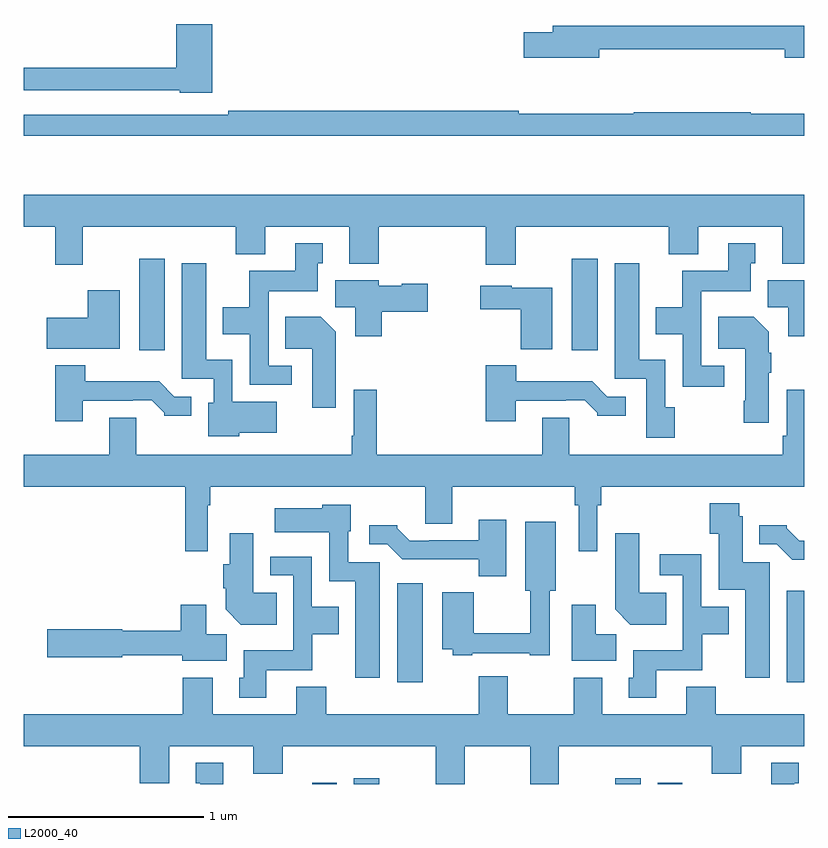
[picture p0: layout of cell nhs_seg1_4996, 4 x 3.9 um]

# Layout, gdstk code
import gdstk
lib = gdstk.Library(unit=1e-6, precision=1e-09)
def R(c, l, rs):  # rectangles x0, y0, x1, y1
    for r in rs: c.add(gdstk.rectangle(r[:2], r[2:], *l))
def P(c, l, *ps):  # polygons
    for p in ps: c.add(gdstk.Polygon(p, *l))
L2000_40 = (2000, 40)

nhs_seg1_4996 = lib.new_cell('nhs_seg1_4996')
R(nhs_seg1_4996, L2000_40, [(382.478,558.199,382.603,558.205), (382.691,558.199,382.822,558.229), (384.032,558.199,384.163,558.229), (384.251,558.199,384.376,558.205), (382.913,558.72,383.044,559.228), (384.911,558.72,385,559.189), (381.59,560.424,381.721,560.893), (383.81,560.424,383.941,560.893)])
P(nhs_seg1_4996, L2000_40, [(381.965,562.096),(381.782,562.096),(381.782,561.872),(381,561.872),(381,561.756),(381.798,561.756),(381.798,561.743),(381.965,561.743)],
  [(383.95,561.966),(384.902,561.966),(384.902,561.923),(385,561.923),(385,562.087),(383.711,562.087),(383.711,562.053),(383.562,562.053),(383.562,561.923),(383.95,561.923)],
  [(385,561.635),(384.728,561.635),(384.728,561.643),(384.128,561.643),(384.128,561.635),(383.538,561.635),(383.538,561.65),(382.048,561.65),(382.048,561.63),(381,561.63),(381,561.522),(385,561.522)],
  [(381.301,561.056),(382.085,561.056),(382.085,560.915),(382.237,560.915),(382.237,561.056),(382.667,561.056),(382.667,560.867),(382.82,560.867),(382.82,561.056),(383.369,561.056),(383.369,560.862),(383.521,560.862),(383.521,561.056),(384.305,561.056),(384.305,560.915),(384.457,560.915),(384.457,561.056),(384.887,561.056),(384.887,560.867),(385,560.867),(385,561.22),(381,561.22),(381,561.056),(381.161,561.056),(381.161,560.862),(381.301,560.862)],
  [(382.372,560.343),(382.254,560.343),(382.254,560.726),(382.507,560.726),(382.507,560.868),(382.531,560.868),(382.531,560.971),(382.391,560.971),(382.391,560.83),(382.156,560.83),(382.156,560.644),(382.019,560.644),(382.019,560.504),(382.158,560.504),(382.158,560.247),(382.372,560.247)],
  [(384.592,560.343),(384.474,560.343),(384.474,560.726),(384.727,560.726),(384.727,560.868),(384.751,560.868),(384.751,560.971),(384.611,560.971),(384.611,560.83),(384.376,560.83),(384.376,560.644),(384.239,560.644),(384.239,560.504),(384.378,560.504),(384.378,560.235),(384.592,560.235)],
  [(382.104,560),(382.297,560),(382.297,560.158),(382.068,560.158),(382.068,560.374),(381.934,560.374),(381.934,560.869),(381.809,560.869),(381.809,560.277),(381.972,560.277),(381.972,560.154),(381.944,560.154),(381.944,559.982),(382.104,559.982)],
  [(384.336,560.13),(384.288,560.13),(384.288,560.374),(384.154,560.374),(384.154,560.869),(384.029,560.869),(384.029,560.277),(384.192,560.277),(384.192,559.974),(384.336,559.974)],
  [(382.835,560.621),(383.071,560.621),(383.071,560.763),(382.938,560.763),(382.938,560.755),(382.818,560.755),(382.818,560.782),(382.595,560.782),(382.595,560.644),(382.7,560.644),(382.7,560.496),(382.835,560.496)],
  [(385,560.782),(384.815,560.782),(384.815,560.644),(384.92,560.644),(384.92,560.496),(385,560.496)],
  [(383.71,560.743),(383.502,560.743),(383.502,560.755),(383.34,560.755),(383.34,560.633),(383.548,560.633),(383.548,560.429),(383.71,560.429)],
  [(381.49,560.731),(381.326,560.731),(381.326,560.59),(381.117,560.59),(381.117,560.432),(381.49,560.432)],
  [(384.82,560.308),(384.833,560.308),(384.833,560.411),(384.82,560.411),(384.82,560.518),(384.742,560.596),(384.559,560.596),(384.559,560.432),(384.698,560.432),(384.698,560.164),(384.691,560.164),(384.691,560.052),(384.82,560.052)],
  [(382.6,560.518),(382.522,560.596),(382.339,560.596),(382.339,560.432),(382.478,560.432),(382.478,560.127),(382.6,560.127)],
  [(383.521,560.163),(383.777,560.163),(383.777,560.166),(383.876,560.166),(383.94,560.102),(383.94,560.087),(384.085,560.087),(384.085,560.184),(383.991,560.184),(383.913,560.263),(383.524,560.263),(383.524,560.347),(383.369,560.347),(383.369,560.058),(383.521,560.058)],
  [(381.301,560.163),(381.557,560.163),(381.557,560.166),(381.656,560.166),(381.72,560.102),(381.72,560.087),(381.859,560.087),(381.859,560.184),(381.771,560.184),(381.693,560.263),(381.314,560.263),(381.314,560.347),(381.161,560.347),(381.161,560.058),(381.301,560.058)],
  [(381.942,559.628),(381.955,559.628),(381.955,559.724),(383.057,559.724),(383.057,559.534),(383.197,559.534),(383.197,559.724),(383.824,559.724),(383.824,559.628),(383.844,559.628),(383.844,559.392),(383.94,559.392),(383.94,559.628),(383.96,559.628),(383.96,559.724),(385,559.724),(385,560.221),(384.912,560.221),(384.912,559.984),(384.892,559.984),(384.892,559.888),(383.797,559.888),(383.797,560.078),(383.657,560.078),(383.657,559.888),(382.808,559.888),(382.808,560.221),(382.692,560.221),(382.692,559.984),(382.68,559.984),(382.68,559.888),(381.577,559.888),(381.577,560.078),(381.437,560.078),(381.437,559.888),(381,559.888),(381,559.724),(381.826,559.724),(381.826,559.392),(381.942,559.392)],
  [(384.823,559.335),(384.685,559.335),(384.685,559.572),(384.669,559.572),(384.669,559.639),(384.517,559.639),(384.517,559.483),(384.563,559.483),(384.563,559.196),(384.698,559.196),(384.698,558.744),(384.823,558.744)],
  [(382.825,559.335),(382.662,559.335),(382.662,559.494),(382.675,559.494),(382.675,559.63),(382.53,559.63),(382.53,559.612),(382.287,559.612),(382.287,559.49),(382.566,559.49),(382.566,559.238),(382.7,559.238),(382.7,558.744),(382.825,558.744)],
  [(383.473,559.555),(383.333,559.555),(383.333,559.449),(383.077,559.449),(383.077,559.446),(382.978,559.446),(382.914,559.51),(382.914,559.525),(382.77,559.525),(382.77,559.428),(382.863,559.428),(382.939,559.352),(383.331,559.352),(383.331,559.265),(383.473,559.265)],
  [(383.299,558.87),(383.594,558.87),(383.594,558.858),(383.697,558.858),(383.697,559.19),(383.728,559.19),(383.728,559.543),(383.57,559.543),(383.57,559.19),(383.596,559.19),(383.596,558.971),(383.306,558.971),(383.306,559.183),(383.144,559.183),(383.144,558.89),(383.199,558.89),(383.199,558.858),(383.299,558.858)],
  [(385,559.446),(384.976,559.446),(384.912,559.51),(384.912,559.525),(384.77,559.525),(384.77,559.428),(384.861,559.428),(384.94,559.35),(385,559.35)],
  [(382.295,559.18),(382.177,559.18),(382.177,559.486),(382.055,559.486),(382.055,559.326),(382.022,559.326),(382.022,559.204),(382.034,559.204),(382.034,559.094),(382.112,559.016),(382.295,559.016)],
  [(384.293,559.18),(384.154,559.18),(384.154,559.486),(384.032,559.486),(384.032,559.094),(384.11,559.016),(384.293,559.016)],
  [(384.241,558.782),(384.477,558.782),(384.477,558.968),(384.613,558.968),(384.613,559.108),(384.474,559.108),(384.474,559.378),(384.261,559.378),(384.261,559.269),(384.378,559.269),(384.378,558.886),(384.125,558.886),(384.125,558.744),(384.101,558.744),(384.101,558.642),(384.241,558.642)],
  [(382.243,558.782),(382.479,558.782),(382.479,558.968),(382.615,558.968),(382.615,559.108),(382.476,559.108),(382.476,559.365),(382.263,559.365),(382.263,559.269),(382.38,559.269),(382.38,558.886),(382.127,558.886),(382.127,558.744),(382.103,558.744),(382.103,558.642),(382.243,558.642)],
  [(382.039,558.968),(381.934,558.968),(381.934,559.117),(381.805,559.117),(381.805,558.986),(381.504,558.986),(381.504,558.992),(381.12,558.992),(381.12,558.85),(381.504,558.85),(381.504,558.858),(381.812,558.858),(381.812,558.83),(382.039,558.83)],
  [(384.037,558.968),(383.932,558.968),(383.932,559.117),(383.81,559.117),(383.81,558.83),(384.037,558.83)],
  [(383.259,558.392),(383.596,558.392),(383.596,558.199),(383.743,558.199),(383.743,558.392),(384.527,558.392),(384.527,558.251),(384.679,558.251),(384.679,558.392),(385,558.392),(385,558.556),(384.548,558.556),(384.548,558.697),(384.395,558.697),(384.395,558.556),(383.965,558.556),(383.965,558.745),(383.818,558.745),(383.818,558.556),(383.481,558.556),(383.481,558.751),(383.333,558.751),(383.333,558.556),(382.55,558.556),(382.55,558.697),(382.397,558.697),(382.397,558.556),(381.967,558.556),(381.967,558.745),(381.815,558.745),(381.815,558.556),(381,558.556),(381,558.392),(381.593,558.392),(381.593,558.203),(381.745,558.203),(381.745,558.392),(382.175,558.392),(382.175,558.251),(382.328,558.251),(382.328,558.392),(383.111,558.392),(383.111,558.199),(383.259,558.199)],
  [(384.949,558.204),(384.973,558.204),(384.973,558.307),(384.833,558.307),(384.833,558.199),(384.949,558.199)],
  [(382.021,558.307),(381.881,558.307),(381.881,558.204),(381.905,558.204),(381.905,558.199),(382.021,558.199)])

lib.write_gds('nhs_seg1_4996.gds')
